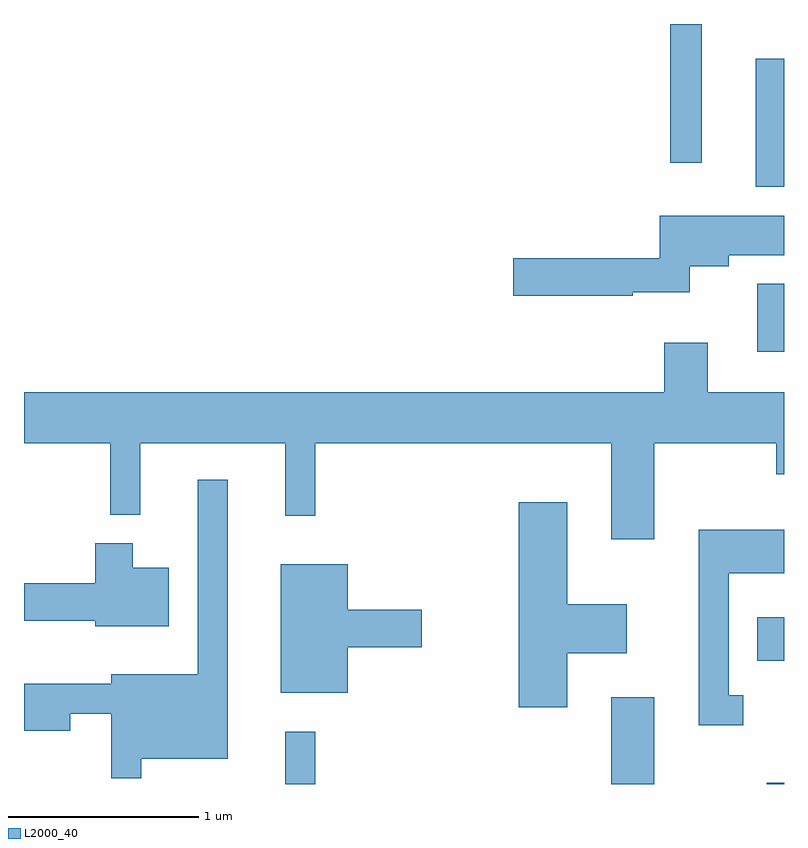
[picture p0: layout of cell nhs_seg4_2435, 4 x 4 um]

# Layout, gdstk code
import gdstk
lib = gdstk.Library(unit=1e-6, precision=1e-09)
def R(c, l, rs):  # rectangles x0, y0, x1, y1
    for r in rs: c.add(gdstk.rectangle(r[:2], r[2:], *l))
def P(c, l, *ps):  # polygons
    for p in ps: c.add(gdstk.Polygon(p, *l))
L2000_40 = (2000, 40)

nhs_seg4_2435 = lib.new_cell('nhs_seg4_2435')
R(nhs_seg4_2435, L2000_40, [(256.986,1363.982,257.144,1364.258), (258.701,1363.982,258.929,1364.439), (259.521,1363.982,259.611,1363.989), (259.471,1364.631,259.611,1364.859), (259.471,1366.256,259.611,1366.614), (259.461,1367.126,259.611,1367.799), (259.011,1367.253,259.179,1367.982)])
P(nhs_seg4_2435, L2000_40, [(258.814,1366.571),(259.114,1366.571),(259.114,1366.706),(259.319,1366.706),(259.319,1366.766),(259.611,1366.766),(259.611,1366.974),(258.956,1366.974),(258.956,1366.749),(258.186,1366.749),(258.186,1366.551),(258.814,1366.551)],
  [(258.929,1365.776),(259.571,1365.776),(259.571,1365.611),(259.611,1365.611),(259.611,1366.044),(259.209,1366.044),(259.209,1366.304),(258.981,1366.304),(258.981,1366.044),(255.611,1366.044),(255.611,1365.776),(256.066,1365.776),(256.066,1365.398),(256.224,1365.398),(256.224,1365.776),(256.986,1365.776),(256.986,1365.393),(257.144,1365.393),(257.144,1365.776),(258.701,1365.776),(258.701,1365.271),(258.929,1365.271)],
  [(256.229,1364.116),(256.684,1364.116),(256.684,1365.583),(256.526,1365.583),(256.526,1364.559),(256.071,1364.559),(256.071,1364.509),(255.611,1364.509),(255.611,1364.261),(255.854,1364.261),(255.854,1364.351),(256.071,1364.351),(256.071,1364.013),(256.229,1364.013)],
  [(258.469,1364.671),(258.784,1364.671),(258.784,1364.929),(258.469,1364.929),(258.469,1365.464),(258.216,1365.464),(258.216,1364.386),(258.469,1364.386)],
  [(259.397,1364.449),(259.319,1364.449),(259.319,1365.091),(259.611,1365.091),(259.611,1365.319),(259.161,1365.319),(259.161,1364.291),(259.397,1364.291)],
  [(256.374,1365.119),(256.184,1365.119),(256.184,1365.249),(255.986,1365.249),(255.986,1365.039),(255.611,1365.039),(255.611,1364.841),(255.986,1364.841),(255.986,1364.811),(256.374,1364.811)],
  [(257.314,1364.701),(257.704,1364.701),(257.704,1364.899),(257.314,1364.899),(257.314,1365.139),(256.961,1365.139),(256.961,1364.461),(257.314,1364.461)])

lib.write_gds('nhs_seg4_2435.gds')
